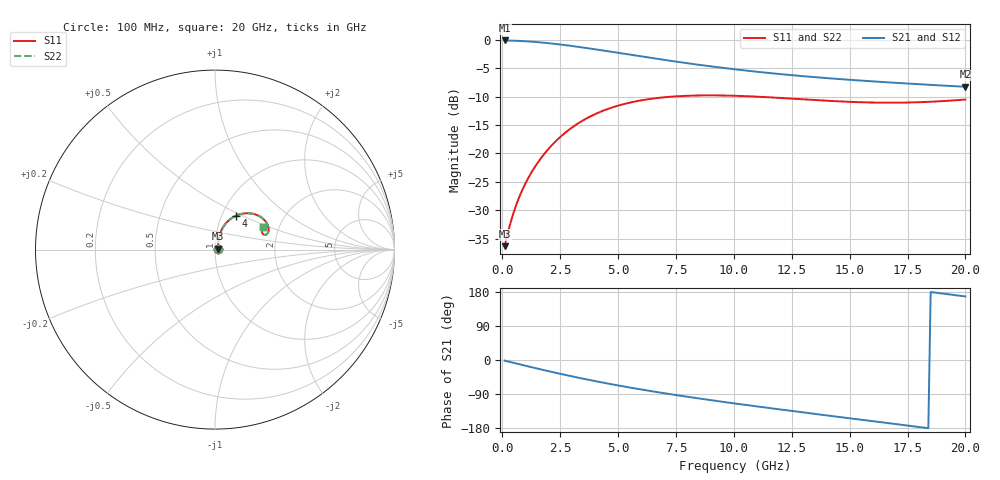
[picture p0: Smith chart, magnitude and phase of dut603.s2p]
! Touchstone file exported from HFSS 2024.1.0
!  File:  C:/UserFiles/LocalFiles/RDL_TSV_Batchsim/temp_RDL_TSV_603_1779797236.aedt
!  Generated:  08:25:34 PM May 26, 2026
!  Design:  RDL_TSV
!  Project:  temp_RDL_TSV_603_1779797236
!  Setup:  Setup1
!  Solution:  Sweep
! Variables:
!  dtsv = 5.31um
!  hbump = 3um
!  htsv = 79.15um
!  ldown = 179.83um
!  lrdl = 554.19um
!  p = 40
!  p1 = 47.19um
!  rhole = 10um
!  subl = 2756.25um
!  t = 450um
!  tdown = 4.9um
!  trdl = 4.2um
!  viad = 10um
!  wdown = 12.91um
!  wrdl = 21.11um
!  xbump = 18um
# GHz S MA R 50.000000
! Terminal data exported
! Port[1] = TM1_1_T1
! Port[2] = TM1_4_T1
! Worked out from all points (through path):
!   200 points, 100 MHz to 20 GHz, reference 50 ohm
!   highest |S21| = -0.13 dB at 100 MHz (marker M1); lowest = -8.3 dB at 20 GHz (marker M2)
!   group delay of S21, straight-line fit = 25.3 ps
!   lowest |S11| = -36.3 dB at 100 MHz (marker M3), VSWR 1.03, Z = 51.4 + j0.588 ohm
!   |S11| at or under -10 dB: start of sweep to 7.357 GHz; 10.93 GHz to end of sweep
!   |S22| runs from -36.3 to -9.8 dB; largest |S21 - S12| = 1.6e-14
!   S11 on the Smith chart (normalised r, x): 100 MHz: 1.03, +0.01; 4 GHz: 1.16, +0.46; 20 GHz: 1.65, +0.47
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0.1  0.01528 21.9  0.9857 -1.6  0.9857 -1.6  0.01528 21.9
! Gamma 0 0 0 0
! Port Impedance 50 0 50 0
0.4  0.0264 52.6  0.9821 -6.1  0.9821 -6.1  0.0264 52.6
0.6  0.03513 61.0  0.9789 -9.2  0.9789 -9.2  0.03513 61.0
0.9  0.04943 67.8  0.9724 -13.6  0.9724 -13.6  0.04943 67.8
1.3  0.07025 71.5  0.9606 -19.5  0.9606 -19.5  0.07024 71.5
1.8  0.0983 72.2  0.9414 -26.7  0.9414 -26.7  0.09829 72.2
2.3  0.1276 70.6  0.9183 -33.7  0.9183 -33.7  0.1276 70.6
2.9  0.1627 67.0  0.887 -41.8  0.887 -41.8  0.1627 67.0
3.5  0.1959 62.5  0.8535 -49.5  0.8535 -49.5  0.1959 62.5
4  0.2212 58.4  0.8248 -55.6  0.8248 -55.6  0.2212 58.4
4.6  0.2479 53.4  0.7903 -62.6  0.7903 -62.6  0.2479 53.4
5.3  0.2734 47.8  0.7511 -70.5  0.7511 -70.5  0.2734 47.9
6.8  0.3089 37.2  0.6742 -85.9  0.6742 -85.9  0.3089 37.2
7.6  0.3186 32.4  0.6381 -93.5  0.6381 -93.5  0.3187 32.4
8.4  0.3233 28.3  0.6056 -100.7  0.6056 -100.7  0.3234 28.3
10.1  0.3212 21.6  0.5479 -115.2  0.5479 -115.2  0.3213 21.6
11.7  0.3103 17.8  0.5056 -128.1  0.5056 -128.1  0.3104 17.8
13.4  0.2957 16.3  0.4704 -141.4  0.4704 -141.4  0.2959 16.3
15  0.2843 17.1  0.4441 -153.8  0.4441 -153.8  0.2845 17.1
16.7  0.2793 19.7  0.4213 -166.9  0.4213 -166.9  0.2794 19.7
18.3  0.2837 22.8  0.403 -179.2  0.403 -179.2  0.2839 22.8
20  0.2979 25.5  0.3857 167.7  0.3857 167.7  0.298 25.5
